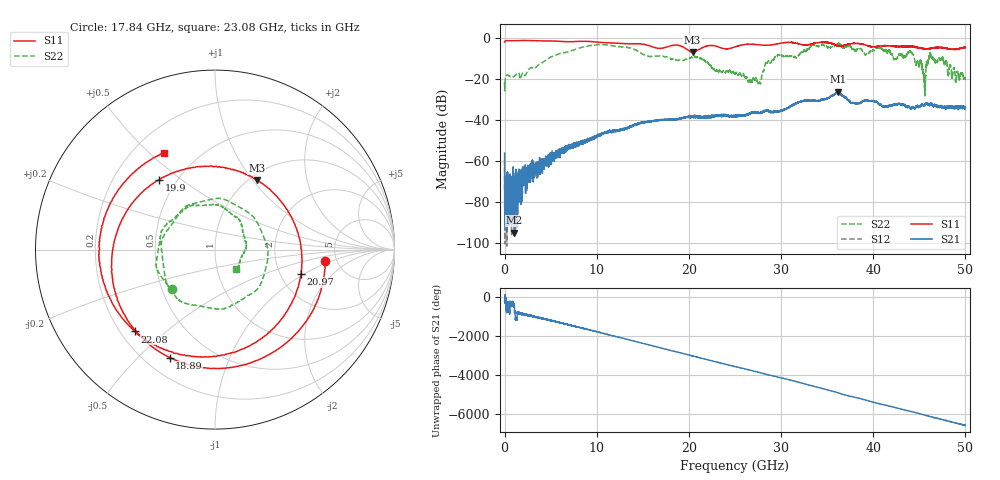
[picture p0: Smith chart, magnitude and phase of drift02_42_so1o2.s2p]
!Created with skrf (http://scikit-rf.org).
# Hz S RI R 50.0
!freq ReS11 ImS11 ReS21 ImS21 ReS12 ImS12 ReS22 ImS22
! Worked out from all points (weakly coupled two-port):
!   10001 points, 300 kHz to 50 GHz, reference 50 ohm
!   highest |S21| = -26.30 dB at 36.14 GHz (marker M1); lowest = -95.1 dB at 1.065 GHz (marker M2)
!   lowest |S11| = -6.9 dB at 20.4 GHz (marker M3), VSWR 2.64, Z = 53.9 + j52.4 ohm
!   |S11| at or under -10 dB: nowhere
!   |S22| runs from -28.3 to -2.6 dB; largest |S21 - S12| = 0.0045
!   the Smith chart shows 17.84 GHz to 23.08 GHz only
!   S11 on the Smith chart (normalised r, x): 17.84 GHz: 4.07, -0.80; 18.89 GHz: 0.30, -0.62; 19.9 GHz: 0.40, +0.42; 20.97 GHz: 2.59, -0.93; 22.08 GHz: 0.26, -0.40; 23.08 GHz: 0.32, +0.55
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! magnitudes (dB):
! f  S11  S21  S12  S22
! 300 kHz  -2.1  -56.3  -59.5  -21.6
! 260.3 MHz  -1.4  -72.8  -72.6  -18.2
! 1.065 GHz  -1.5  -95.1  -73.3  -18.8
! 8.335 GHz  -1.7  -50.7  -51.5  -4.7
! 16.67 GHz  -5.2  -40.1  -40.2  -9.0
! 17.84 GHz  -4.2  -40.2  -40.0  -9.7
! 18.89 GHz  -3.7  -39.4  -39.7  -10.9
! 19.9 GHz  -6.0  -38.6  -38.6  -9.9
! 20.4 GHz  -6.9  -38.7  -38.5  -9.7
! 20.97 GHz  -6.1  -38.9  -38.7  -9.4
! 22.08 GHz  -3.9  -38.6  -38.6  -12.5
! 23.08 GHz  -4.3  -37.9  -38.1  -15.8
! 25 GHz  -4.5  -38.4  -38.3  -17.7
! 27.62 GHz  -3.5  -36.8  -36.6  -21.7
! 29.54 GHz  -3.0  -36.0  -36.1  -8.8
! 33.34 GHz  -3.1  -30.7  -30.4  -3.8
! 36.14 GHz  -3.9  -26.3  -27.0  -3.2
! 41.67 GHz  -4.0  -33.3  -33.4  -6.3
! 44.13 GHz  -4.2  -34.5  -34.6  -7.2
! 45.5 GHz  -5.3  -32.7  -33.1  -18.5
! 46.27 GHz  -5.2  -32.2  -32.5  -9.1
! 50 GHz  -4.8  -33.9  -34.2  -20.0
